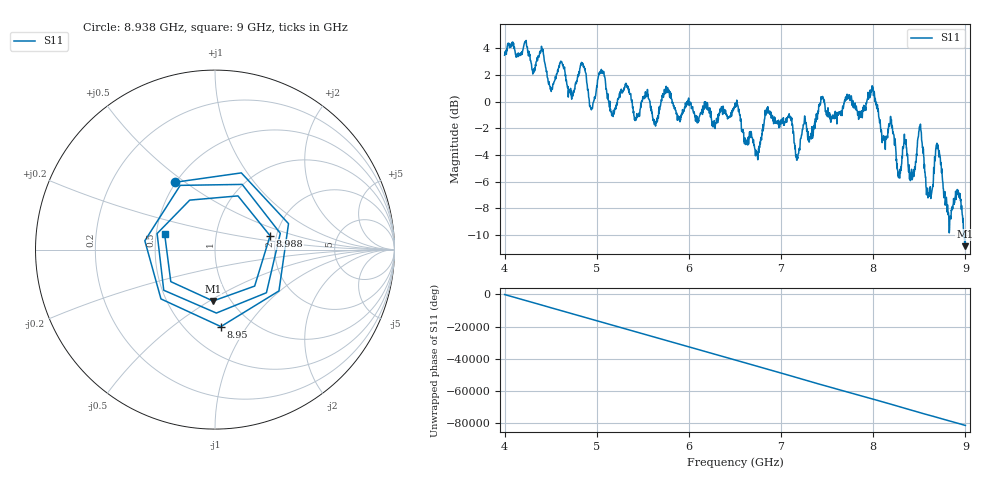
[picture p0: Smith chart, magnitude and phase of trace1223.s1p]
! Created with skrf 1.8.0 (http://scikit-rf.org).
# Hz S RI R 50.0
!freq ReS11 ImS11
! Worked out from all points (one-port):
!   1601 points, 4 GHz to 9 GHz, reference 50 ohm
!   lowest |S11| = -10.9 dB at 8.994 GHz (marker M1), VSWR 1.80, Z = 41.6 - j25.9 ohm
!   |S11| at or under -10 dB: 8.980182 GHz to 8.98228 GHz (2.099 MHz wide, 0.0234 % of centre); 8.988038 GHz to end of sweep
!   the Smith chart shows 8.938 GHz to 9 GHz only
!   S11 on the Smith chart (normalised r, x): 8.938 GHz: 0.50, +0.46; 8.95 GHz: 0.73, -0.77; 8.988 GHz: 1.85, +0.32; 9 GHz: 0.55, +0.11
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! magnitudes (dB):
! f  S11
! 4 GHz  3.5
! 4.625 GHz  2.9
! 4.716 GHz  1.0
! 4.85 GHz  2.8
! 4.941 GHz  -0.6
! 5.05 GHz  2.4
! 5.162 GHz  -1.0
! 5.25 GHz  0.3
! 5.875 GHz  -1.4
! 6.5 GHz  -0.3
! 6.734 GHz  -4.0
! 6.853 GHz  -0.6
! 7.125 GHz  -1.7
! 7.181 GHz  -4.3
! 7.434 GHz  0.4
! 7.75 GHz  0.1
! 7.991 GHz  1.0
! 8.278 GHz  -5.4
! 8.375 GHz  -4.3
! 8.506 GHz  -2.0
! 8.6 GHz  -7.0
! 8.7 GHz  -3.2
! 8.822 GHz  -9.2
! 8.938 GHz  -7.2
! 8.95 GHz  -7.3
! 8.988 GHz  -10.0
! 8.994 GHz  -10.9
! 9 GHz  -10.6
